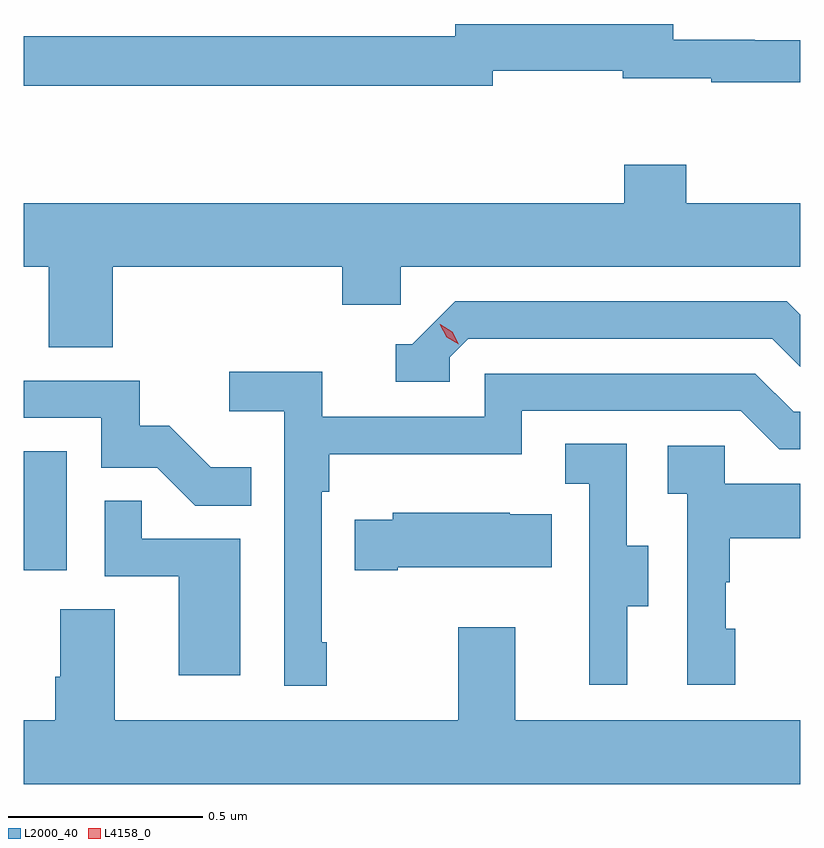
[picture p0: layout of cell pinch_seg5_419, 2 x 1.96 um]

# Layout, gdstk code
import gdstk
lib = gdstk.Library(unit=1e-6, precision=1e-09)
def R(c, l, rs):  # rectangles x0, y0, x1, y1
    for r in rs: c.add(gdstk.rectangle(r[:2], r[2:], *l))
def P(c, l, *ps):  # polygons
    for p in ps: c.add(gdstk.Polygon(p, *l))
L2000_40 = (2000, 40)
L4158_0 = (4158, 0)

pinch_seg5_419 = lib.new_cell('pinch_seg5_419')
R(pinch_seg5_419, L2000_40, [(1000.093,862.638,1000.204,862.945)])
P(pinch_seg5_419, L2000_40, [(1001.301,863.925),(1001.636,863.925),(1001.636,863.905),(1001.863,863.905),(1001.863,863.895),(1002.093,863.895),(1002.093,864.003),(1001.976,864.003),(1001.976,864.004),(1001.766,864.004),(1001.766,864.045),(1001.205,864.045),(1001.205,864.014),(1000.093,864.014),(1000.093,863.886),(1001.301,863.886)],
  [(1000.322,863.42),(1000.913,863.42),(1000.913,863.322),(1001.064,863.322),(1001.064,863.42),(1002.093,863.42),(1002.093,863.584),(1001.799,863.584),(1001.799,863.683),(1001.639,863.683),(1001.639,863.584),(1000.093,863.584),(1000.093,863.42),(1000.157,863.42),(1000.157,863.212),(1000.322,863.212)],
  [(1001.19,863.187),(1001.238,863.235),(1002.021,863.235),(1002.093,863.163),(1002.093,863.296),(1002.058,863.331),(1001.205,863.331),(1001.094,863.22),(1001.051,863.22),(1001.051,863.124),(1001.19,863.124)],
  [(1000.873,862.453),(1000.86,862.453),(1000.86,862.841),(1000.88,862.841),(1000.88,862.937),(1001.376,862.937),(1001.376,863.049),(1001.94,863.049),(1002.039,862.95),(1002.093,862.95),(1002.093,863.046),(1002.076,863.046),(1001.977,863.145),(1001.28,863.145),(1001.28,863.034),(1000.862,863.034),(1000.862,863.15),(1000.623,863.15),(1000.623,863.048),(1000.764,863.048),(1000.764,862.341),(1000.873,862.341)],
  [(1000.679,862.903),(1000.575,862.903),(1000.468,863.01),(1000.392,863.01),(1000.392,863.127),(1000.093,863.127),(1000.093,863.031),(1000.293,863.031),(1000.293,862.902),(1000.437,862.902),(1000.535,862.804),(1000.679,862.804)],
  [(1001.647,862.546),(1001.701,862.546),(1001.701,862.701),(1001.646,862.701),(1001.646,862.964),(1001.487,862.964),(1001.487,862.861),(1001.55,862.861),(1001.55,862.557),(1001.549,862.557),(1001.549,862.344),(1001.647,862.344)],
  [(1001.926,862.488),(1001.901,862.488),(1001.901,862.607),(1001.911,862.607),(1001.911,862.721),(1002.093,862.721),(1002.093,862.861),(1001.898,862.861),(1001.898,862.959),(1001.751,862.959),(1001.751,862.835),(1001.802,862.835),(1001.802,862.344),(1001.926,862.344)],
  [(1000.651,862.719),(1000.397,862.719),(1000.397,862.817),(1000.302,862.817),(1000.302,862.623),(1000.493,862.623),(1000.493,862.368),(1000.651,862.368)],
  [(1001.056,862.646),(1001.453,862.646),(1001.453,862.783),(1001.345,862.783),(1001.345,862.786),(1001.043,862.786),(1001.043,862.768),(1000.945,862.768),(1000.945,862.639),(1001.056,862.639)],
  [(1002.093,862.252),(1001.359,862.252),(1001.359,862.492),(1001.212,862.492),(1001.212,862.252),(1000.327,862.252),(1000.327,862.538),(1000.187,862.538),(1000.187,862.364),(1000.175,862.364),(1000.175,862.252),(1000.093,862.252),(1000.093,862.088),(1002.093,862.088)])
P(pinch_seg5_419, L4158_0, [(1001.213,863.22),(1001.182,863.239),(1001.165,863.272),(1001.165,863.272),(1001.166,863.272),(1001.197,863.253),(1001.213,863.22),(1001.213,863.22)])

lib.write_gds('pinch_seg5_419.gds')
